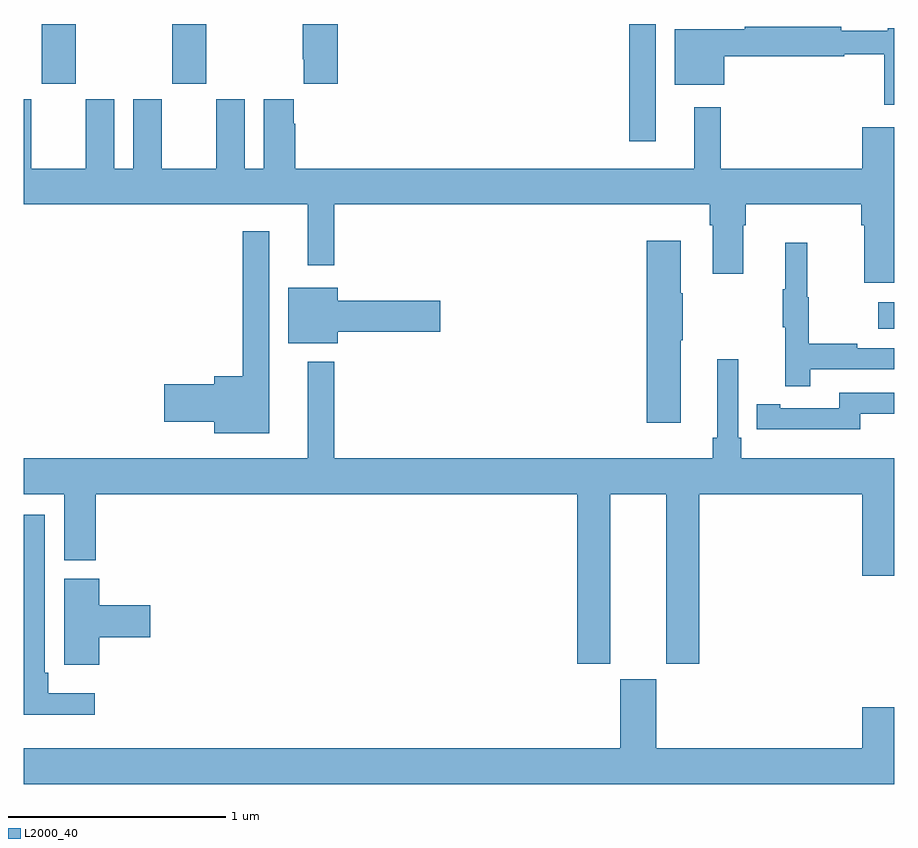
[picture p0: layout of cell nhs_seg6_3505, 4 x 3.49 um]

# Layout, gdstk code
import gdstk
lib = gdstk.Library(unit=1e-6, precision=1e-09)
def R(c, l, rs):  # rectangles x0, y0, x1, y1
    for r in rs: c.add(gdstk.rectangle(r[:2], r[2:], *l))
def P(c, l, *ps):  # polygons
    for p in ps: c.add(gdstk.Polygon(p, *l))
L2000_40 = (2000, 40)

nhs_seg6_3505 = lib.new_cell('nhs_seg6_3505')
R(nhs_seg6_3505, L2000_40, [(320.927,944.099,321,944.221), (319.782,944.961,319.903,945.5), (317.083,945.225,317.238,945.5), (317.683,945.225,317.838,945.5)])
P(nhs_seg6_3505, L2000_40, [(318.443,945.5),(318.283,945.5),(318.283,945.337),(318.287,945.337),(318.287,945.225),(318.443,945.225)],
  [(321,945.481),(320.97,945.481),(320.97,945.469),(320.756,945.469),(320.756,945.488),(320.314,945.488),(320.314,945.475),(319.991,945.475),(319.991,945.221),(320.218,945.221),(320.218,945.352),(320.77,945.352),(320.77,945.36),(320.954,945.36),(320.954,945.129),(321,945.129)],
  [(321,945.025),(320.852,945.025),(320.852,944.836),(320.203,944.836),(320.203,945.118),(320.081,945.118),(320.081,944.836),(318.248,944.836),(318.248,945.041),(318.241,945.041),(318.241,945.154),(318.104,945.154),(318.104,944.836),(318.016,944.836),(318.016,945.154),(317.885,945.154),(317.885,944.836),(317.635,944.836),(317.635,945.154),(317.504,945.154),(317.504,944.836),(317.416,944.836),(317.416,945.154),(317.285,945.154),(317.285,944.836),(317.035,944.836),(317.035,945.154),(317,945.154),(317,944.672),(318.305,944.672),(318.305,944.391),(318.427,944.391),(318.427,944.672),(320.153,944.672),(320.153,944.576),(320.165,944.576),(320.165,944.352),(320.305,944.352),(320.305,944.576),(320.318,944.576),(320.318,944.672),(320.849,944.672),(320.849,944.576),(320.861,944.576),(320.861,944.31),(321,944.31)],
  [(318.127,944.548),(318.006,944.548),(318.006,943.882),(317.876,943.882),(317.876,943.844),(317.646,943.844),(317.646,943.673),(317.876,943.673),(317.876,943.619),(318.127,943.619)],
  [(320.02,944.047),(320.028,944.047),(320.028,944.264),(320.02,944.264),(320.02,944.503),(319.862,944.503),(319.862,943.668),(320.02,943.668)],
  [(320.615,943.914),(321,943.914),(321,944.01),(320.831,944.01),(320.831,944.03),(320.608,944.03),(320.608,944.244),(320.6,944.244),(320.6,944.494),(320.498,944.494),(320.498,944.281),(320.487,944.281),(320.487,944.107),(320.498,944.107),(320.498,943.836),(320.615,943.836)],
  [(318.442,944.087),(318.913,944.087),(318.913,944.229),(318.442,944.229),(318.442,944.287),(318.215,944.287),(318.215,944.033),(318.442,944.033)],
  [(319.696,943.34),(319.952,943.34),(319.952,942.561),(320.105,942.561),(320.105,943.34),(320.852,943.34),(320.852,942.966),(321,942.966),(321,943.504),(320.297,943.504),(320.297,943.6),(320.283,943.6),(320.283,943.96),(320.186,943.96),(320.186,943.6),(320.167,943.6),(320.167,943.504),(318.427,943.504),(318.427,943.948),(318.305,943.948),(318.305,943.504),(317,943.504),(317,943.34),(317.186,943.34),(317.186,943.036),(317.33,943.036),(317.33,943.34),(319.544,943.34),(319.544,942.561),(319.696,942.561)],
  [(320.844,943.71),(321,943.71),(321,943.806),(320.748,943.806),(320.748,943.734),(320.476,943.734),(320.476,943.754),(320.368,943.754),(320.368,943.638),(320.476,943.638),(320.476,943.637),(320.844,943.637)],
  [(317.326,942.424),(317.113,942.424),(317.113,942.52),(317.097,942.52),(317.097,943.246),(317,943.246),(317,942.969),(317.001,942.969),(317.001,942.326),(317.326,942.326)],
  [(317.348,942.683),(317.581,942.683),(317.581,942.83),(317.348,942.83),(317.348,942.951),(317.186,942.951),(317.186,942.667),(317.187,942.667),(317.187,942.555),(317.348,942.555)],
  [(321,942.361),(320.852,942.361),(320.852,942.172),(319.906,942.172),(319.906,942.489),(319.742,942.489),(319.742,942.172),(317,942.172),(317,942.008),(321,942.008)])

lib.write_gds('nhs_seg6_3505.gds')
